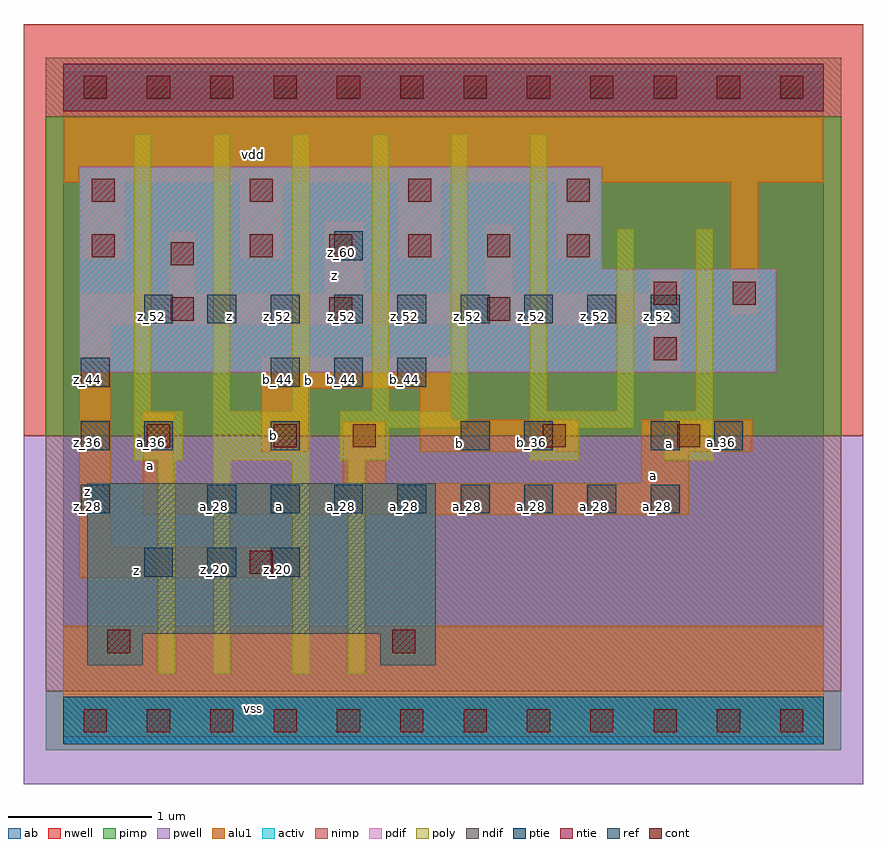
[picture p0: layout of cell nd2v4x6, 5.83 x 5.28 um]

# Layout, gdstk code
import gdstk
lib = gdstk.Library(unit=1e-6, precision=2.5e-09)
def R(c, l, rs):  # rectangles x0, y0, x1, y1
    for r in rs: c.add(gdstk.rectangle(r[:2], r[2:], *l))
def A(c, l, x, y, w, h, nx, ny, dx, dy):  # array of equal rectangles
    R(c, l, [(x+i*dx, y+j*dy, x+i*dx+w, y+j*dy+h) for i in range(nx) for j in range(ny)])
ndif = (3, 0)
pdif = (4, 0)
ntie = (5, 0)
ptie = (6, 0)
ref = (24, 0)
cont = (25, 0)
pwell = (41, 0)
nwell = (42, 0)
activ = (43, 0)
pimp = (44, 0)
nimp = (45, 0)
poly = (46, 0)
alu1 = (49, 0)
ab = (63, 0)

nd2v4x6 = lib.new_cell('nd2v4x6')
R(nd2v4x6, ndif, [(0.165,0.385,0.55,0.605), (2.2,0.385,2.585,0.605), (0.165,0.605,2.585,1.65)])
R(nd2v4x6, pdif, [(0.11,2.42,4.95,3.135), (0.11,3.135,3.74,3.85)])
R(nd2v4x6, ntie, [(0,4.235,5.28,4.565)])
R(nd2v4x6, ptie, [(0,-0.165,5.28,0.165)])
A(nd2v4x6, ref, 0.56, 1, 0.2, 0.2, 3, 1, 0.44, 0)
A(nd2v4x6, ref, 0.12, 1.44, 0.2, 0.2, 1, 3, 0, 0.44)
A(nd2v4x6, ref, 1, 1.44, 0.2, 0.2, 8, 1, 0.44, 0)
A(nd2v4x6, ref, 1.44, 2.32, 0.2, 0.2, 3, 1, 0.44, 0)
A(nd2v4x6, ref, 0.56, 2.76, 0.2, 0.2, 9, 1, 0.44, 0)
R(nd2v4x6, ref, [(0.56,1.88,0.76,2.08), (1.44,1.88,1.64,2.08), (2.76,1.88,2.96,2.08), (3.2,1.88,3.4,2.08), (4.08,1.88,4.28,2.08), (4.52,1.88,4.72,2.08), (1.88,3.2,2.08,3.4)])
A(nd2v4x6, cont, 0.14, -0.08, 0.16, 0.16, 12, 2, 0.44, 4.4)
A(nd2v4x6, cont, 0.745, 2.78, 0.16, 0.16, 3, 1, 1.1, 0)
A(nd2v4x6, cont, 1.295, 3.22, 0.16, 0.16, 5, 1, 0.55, 0)
A(nd2v4x6, cont, 0.195, 3.605, 0.16, 0.16, 4, 1, 1.1, 0)
R(nd2v4x6, cont, [(0.305,0.47,0.465,0.63), (2.285,0.47,2.445,0.63), (1.295,1.02,1.455,1.18), (0.58,1.9,0.74,2.06), (1.46,1.9,1.62,2.06), (2.01,1.9,2.17,2.06), (3.33,1.9,3.49,2.06), (4.265,1.9,4.425,2.06), (4.1,2.505,4.26,2.665), (4.1,2.89,4.26,3.05), (4.65,2.89,4.81,3.05), (0.745,3.165,0.905,3.325), (0.195,3.22,0.355,3.38)])
R(nd2v4x6, pwell, [(-0.275,-0.44,5.555,1.98)])
R(nd2v4x6, nwell, [(-0.275,1.98,5.555,4.84)])
R(nd2v4x6, activ, [(0,-0.165,5.28,0.165), (0.165,0.385,0.55,0.605), (2.2,0.385,2.585,0.605), (0.165,0.605,2.585,1.65), (0.11,2.42,4.95,3.135), (0.11,3.135,3.74,3.85), (0,4.235,5.28,4.565)])
R(nd2v4x6, pimp, [(-0.125,-0.205,5.405,0.205), (-0.125,1.98,5.405,4.195)])
R(nd2v4x6, nimp, [(-0.125,0.205,5.405,1.98), (-0.125,4.195,5.405,4.605)])
A(nd2v4x6, poly, 0.49, 2.15, 0.12, 1.925, 6, 1, 0.55, 0)
R(nd2v4x6, poly, [(0.655,0.325,0.775,1.81), (1.04,0.325,1.16,1.81), (1.59,0.325,1.71,1.81), (1.975,0.325,2.095,1.81), (0.49,1.81,0.83,2.15), (1.04,1.81,1.71,2.15), (1.92,1.81,2.26,2.03), (3.24,1.81,3.58,2.03), (4.175,1.81,4.515,2.15), (1.92,2.03,2.81,2.15), (3.24,2.03,3.965,2.15), (3.845,2.15,3.965,3.415), (4.395,2.15,4.515,3.415)])
A(nd2v4x6, alu1, 0.125, 3.205, 0.3, 0.535, 4, 1, 1.1, 0)
R(nd2v4x6, alu1, [(0,-0.11,5.28,0.66), (0.11,0.99,1.705,1.21), (0.11,1.21,0.33,2.75), (0.55,1.43,4.345,1.65), (0.55,1.65,0.77,2.145), (1.94,1.65,2.24,2.075), (4.015,1.65,4.345,1.87), (1.375,1.87,1.705,2.31), (2.475,1.87,3.575,2.09), (4.015,1.87,4.785,2.09), (2.475,2.09,2.695,2.31), (1.375,2.31,2.695,2.53), (4.07,2.42,4.29,2.75), (0.11,2.75,4.29,2.97), (4.635,2.82,4.825,3.74), (0.73,2.97,0.92,3.395), (1.815,2.97,2.09,3.465), (2.93,2.97,3.12,3.45), (4.07,2.97,4.29,3.135), (0,3.74,5.28,4.51)])
R(nd2v4x6, ab, [(0,0,5.28,4.4)])
nd2v4x6.add(gdstk.Label('vss', (1.32,0.0825), layer=49, texttype=0))
nd2v4x6.add(gdstk.Label('z', (0.5075,1.045), layer=49, texttype=0))
nd2v4x6.add(gdstk.Label('a', (1.4975,1.485), layer=49, texttype=0))
nd2v4x6.add(gdstk.Label('a', (4.0975,1.705), layer=49, texttype=0))
nd2v4x6.add(gdstk.Label('a', (4.2075,1.925), layer=49, texttype=0))
nd2v4x6.add(gdstk.Label('b', (2.75,1.925), layer=49, texttype=0))
nd2v4x6.add(gdstk.Label('b', (1.4575,1.98), layer=49, texttype=0))
nd2v4x6.add(gdstk.Label('a', (0.605,1.7725), layer=49, texttype=0))
nd2v4x6.add(gdstk.Label('b', (1.705,2.365), layer=49, texttype=0))
nd2v4x6.add(gdstk.Label('z', (0.165,1.595), layer=49, texttype=0))
nd2v4x6.add(gdstk.Label('z', (1.155,2.805), layer=49, texttype=0))
nd2v4x6.add(gdstk.Label('z', (1.8825,3.0925), layer=49, texttype=0))
nd2v4x6.add(gdstk.Label('vdd', (1.32,3.9325), layer=49, texttype=0))
nd2v4x6.add(gdstk.Label('z_20', (0.61,1.05), layer=24, texttype=0))
nd2v4x6.add(gdstk.Label('a_36', (0.61,1.93), layer=24, texttype=0))
nd2v4x6.add(gdstk.Label('z_52', (0.61,2.81), layer=24, texttype=0))
nd2v4x6.add(gdstk.Label('z_20', (1.05,1.05), layer=24, texttype=0))
nd2v4x6.add(gdstk.Label('a_28', (1.05,1.49), layer=24, texttype=0))
nd2v4x6.add(gdstk.Label('z_52', (1.05,2.81), layer=24, texttype=0))
nd2v4x6.add(gdstk.Label('z_20', (1.49,1.05), layer=24, texttype=0))
nd2v4x6.add(gdstk.Label('a_28', (1.49,1.49), layer=24, texttype=0))
nd2v4x6.add(gdstk.Label('b_36', (1.49,1.93), layer=24, texttype=0))
nd2v4x6.add(gdstk.Label('b_44', (1.49,2.37), layer=24, texttype=0))
nd2v4x6.add(gdstk.Label('z_52', (1.49,2.81), layer=24, texttype=0))
nd2v4x6.add(gdstk.Label('a_28', (1.93,1.49), layer=24, texttype=0))
nd2v4x6.add(gdstk.Label('b_44', (1.93,2.37), layer=24, texttype=0))
nd2v4x6.add(gdstk.Label('z_52', (1.93,2.81), layer=24, texttype=0))
nd2v4x6.add(gdstk.Label('z_60', (1.93,3.25), layer=24, texttype=0))
nd2v4x6.add(gdstk.Label('z_28', (0.17,1.49), layer=24, texttype=0))
nd2v4x6.add(gdstk.Label('z_36', (0.17,1.93), layer=24, texttype=0))
nd2v4x6.add(gdstk.Label('z_44', (0.17,2.37), layer=24, texttype=0))
nd2v4x6.add(gdstk.Label('a_28', (2.37,1.49), layer=24, texttype=0))
nd2v4x6.add(gdstk.Label('b_44', (2.37,2.37), layer=24, texttype=0))
nd2v4x6.add(gdstk.Label('z_52', (2.37,2.81), layer=24, texttype=0))
nd2v4x6.add(gdstk.Label('a_28', (2.81,1.49), layer=24, texttype=0))
nd2v4x6.add(gdstk.Label('b_36', (2.81,1.93), layer=24, texttype=0))
nd2v4x6.add(gdstk.Label('z_52', (2.81,2.81), layer=24, texttype=0))
nd2v4x6.add(gdstk.Label('a_28', (3.25,1.49), layer=24, texttype=0))
nd2v4x6.add(gdstk.Label('b_36', (3.25,1.93), layer=24, texttype=0))
nd2v4x6.add(gdstk.Label('z_52', (3.25,2.81), layer=24, texttype=0))
nd2v4x6.add(gdstk.Label('a_28', (3.69,1.49), layer=24, texttype=0))
nd2v4x6.add(gdstk.Label('z_52', (3.69,2.81), layer=24, texttype=0))
nd2v4x6.add(gdstk.Label('a_28', (4.13,1.49), layer=24, texttype=0))
nd2v4x6.add(gdstk.Label('a_36', (4.13,1.93), layer=24, texttype=0))
nd2v4x6.add(gdstk.Label('z_52', (4.13,2.81), layer=24, texttype=0))
nd2v4x6.add(gdstk.Label('a_36', (4.57,1.93), layer=24, texttype=0))

lib.write_gds('nd2v4x6.gds')
